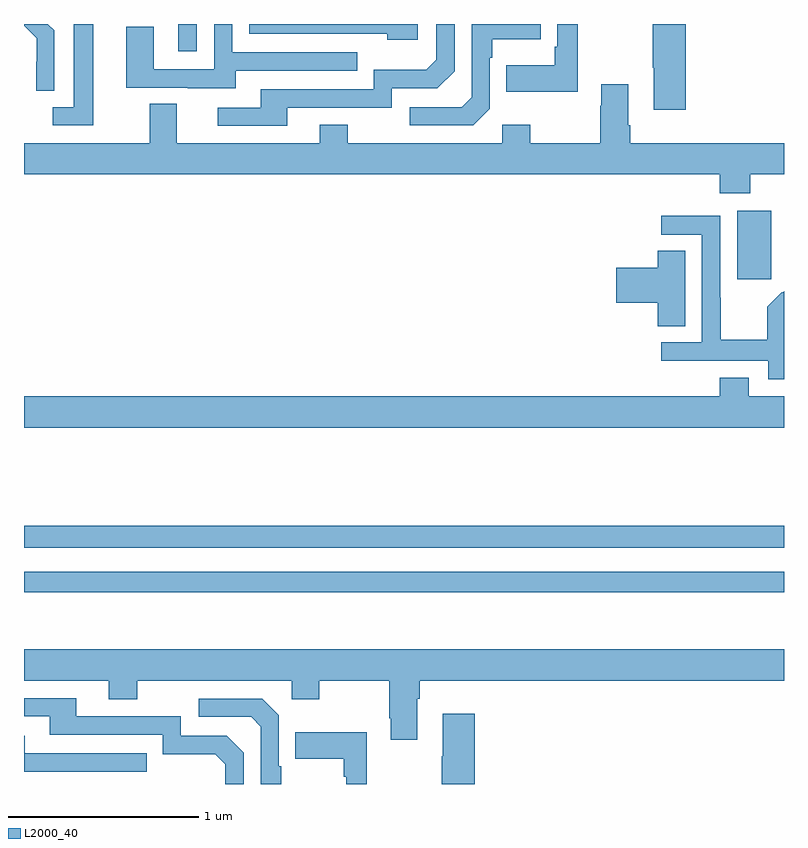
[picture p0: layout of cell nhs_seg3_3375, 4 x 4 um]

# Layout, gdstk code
import gdstk
lib = gdstk.Library(unit=1e-6, precision=1e-09)
def R(c, l, rs):  # rectangles x0, y0, x1, y1
    for r in rs: c.add(gdstk.rectangle(r[:2], r[2:], *l))
def P(c, l, *ps):  # polygons
    for p in ps: c.add(gdstk.Polygon(p, *l))
L2000_40 = (2000, 40)

nhs_seg3_3375 = lib.new_cell('nhs_seg3_3375')
R(nhs_seg3_3375, L2000_40, [(287,673.41,291,673.518), (287,673.644,291,673.76), (290.753,675.057,290.932,675.418), (287.813,676.257,287.91,676.4)])
P(nhs_seg3_3375, L2000_40, [(288.385,675.96),(288.936,675.96),(288.936,676.062),(289.176,676.062),(289.266,676.152),(289.266,676.4),(289.17,676.4),(289.17,676.212),(289.117,676.159),(288.84,676.159),(288.84,676.056),(288.245,676.056),(288.245,675.96),(288.021,675.96),(288.021,675.864),(288.385,675.864)],
  [(289.915,676.4),(289.806,676.4),(289.806,676.279),(289.794,676.279),(289.794,676.183),(289.537,676.183),(289.537,676.043),(289.915,676.043)],
  [(290.483,676.4),(290.308,676.4),(290.308,676.171),(290.315,676.171),(290.315,675.948),(290.483,675.948)],
  [(289.072,676.4),(288.186,676.4),(288.186,676.35),(288.911,676.35),(288.911,676.316),(289.072,676.316)],
  [(287.16,676.366),(287.126,676.4),(287,676.4),(287,676.39),(287.066,676.325),(287.066,676.202),(287.064,676.202),(287.064,676.048),(287.16,676.048)],
  [(289.452,675.954),(289.452,676.223),(289.465,676.223),(289.465,676.319),(289.721,676.319),(289.721,676.4),(289.356,676.4),(289.356,676.014),(289.305,675.963),(289.029,675.963),(289.029,675.867),(289.365,675.867)],
  [(287.365,676.4),(287.261,676.4),(287.261,675.963),(287.151,675.963),(287.151,675.867),(287.365,675.867)],
  [(288.115,676.155),(288.755,676.155),(288.755,676.251),(288.096,676.251),(288.096,676.4),(288,676.4),(288,676.161),(287.682,676.161),(287.682,676.385),(287.537,676.385),(287.537,676.065),(287.861,676.065),(287.861,676.061),(288.115,676.061)],
  [(290.823,675.608),(291,675.608),(291,675.772),(290.192,675.772),(290.192,675.868),(290.179,675.868),(290.179,676.084),(290.039,676.084),(290.039,675.971),(290.032,675.971),(290.032,675.772),(289.665,675.772),(289.665,675.871),(289.518,675.871),(289.518,675.772),(288.705,675.772),(288.705,675.871),(288.557,675.871),(288.557,675.772),(287.803,675.772),(287.803,675.98),(287.663,675.98),(287.663,675.772),(287,675.772),(287,675.608),(290.663,675.608),(290.663,675.509),(290.823,675.509)],
  [(291,674.994),(290.991,674.985),(290.988,674.988),(290.911,674.911),(290.911,674.737),(290.667,674.737),(290.667,674.96),(290.664,674.96),(290.664,675.39),(290.355,675.39),(290.355,675.291),(290.568,675.291),(290.568,674.724),(290.355,674.724),(290.355,674.628),(290.916,674.628),(290.916,674.531),(291,674.531)],
  [(290.479,675.206),(290.336,675.206),(290.336,675.116),(290.118,675.116),(290.118,674.933),(290.336,674.933),(290.336,674.809),(290.479,674.809)],
  [(291,674.44),(290.815,674.44),(290.815,674.539),(290.663,674.539),(290.663,674.44),(287,674.44),(287,674.276),(291,674.276)],
  [(289.069,672.848),(289.082,672.848),(289.082,672.944),(291,672.944),(291,673.108),(287,673.108),(287,672.944),(287.447,672.944),(287.447,672.845),(287.595,672.845),(287.595,672.944),(288.408,672.944),(288.408,672.845),(288.555,672.845),(288.555,672.944),(288.922,672.944),(288.922,672.745),(288.929,672.745),(288.929,672.633),(289.069,672.633)],
  [(288.156,672.564),(288.066,672.654),(287.826,672.654),(287.826,672.756),(287.275,672.756),(287.275,672.852),(287,672.852),(287,672.756),(287.135,672.756),(287.135,672.66),(287.73,672.66),(287.73,672.557),(288.007,672.557),(288.06,672.504),(288.06,672.4),(288.156,672.4)],
  [(288.355,672.493),(288.342,672.493),(288.342,672.762),(288.255,672.849),(287.919,672.849),(287.919,672.753),(288.195,672.753),(288.246,672.702),(288.246,672.4),(288.355,672.4)],
  [(289.373,672.769),(289.205,672.769),(289.205,672.545),(289.198,672.545),(289.198,672.4),(289.373,672.4)],
  [(288.805,672.673),(288.427,672.673),(288.427,672.533),(288.684,672.533),(288.684,672.437),(288.696,672.437),(288.696,672.4),(288.805,672.4)],
  [(287.645,672.561),(287.005,672.561),(287.005,672.655),(287,672.655),(287,672.465),(287.645,672.465)])

lib.write_gds('nhs_seg3_3375.gds')
